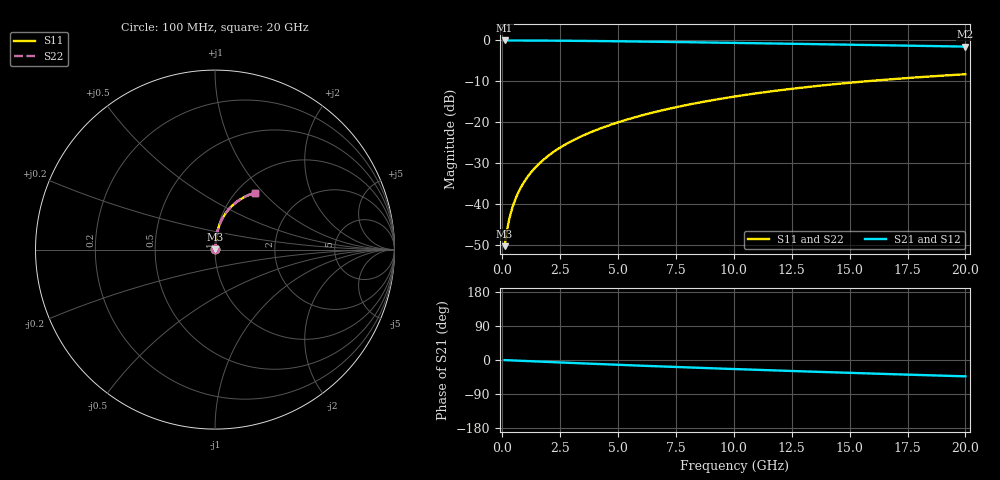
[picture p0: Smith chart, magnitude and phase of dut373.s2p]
! Touchstone file exported from HFSS 2024.1.0
!  File:  C:/UserFiles/LocalFiles/RDL_TSV_Batchsim/temp_RDL_bottom_373_1779613487.aedt
!  Generated:  05:07:39 PM May 24, 2026
!  Design:  RDL_bottom
!  Project:  temp_RDL_bottom_373_1779613487
!  Setup:  Setup1
!  Solution:  Sweep
! Variables:
!  dtsv = 10.80580581um
!  hbump = 3um
!  htsv = 99.97um
!  ldown = 606.8um
!  lrdl = 100um
!  p = 40
!  p1 = 53.84um
!  rhole = 1um
!  t = 450um
!  tdown = 4.73um
!  trdl = 3.915915916um
!  wdown = 21.76um
!  wrdl = 20um
# GHz S MA R 50.000000
! Terminal data exported
! Port[1] = RDL1_T1
! Port[2] = RDL1_T2
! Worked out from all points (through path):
!   200 points, 100 MHz to 20 GHz, reference 50 ohm
!   highest |S21| = -0.02 dB at 100 MHz (marker M1); lowest = -1.5 dB at 20 GHz (marker M2)
!   group delay of S21, straight-line fit = 5.94 ps
!   lowest |S11| = -50.2 dB at 100 MHz (marker M3), VSWR 1.01, Z = 50.2 + j0.214 ohm
!   |S11| at or under -10 dB: start of sweep to 15.67 GHz
!   |S22| runs from -50.2 to -8.3 dB; largest |S21 - S12| = 1.6e-14
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0.1  0.003096 43.4  0.9977 -0.3  0.9977 -0.3  0.003096 43.4
! Gamma 0 0 0 0
! Port Impedance 50 0 50 0
0.2  0.004795 60.1  0.9976 -0.5  0.9976 -0.5  0.004795 60.1
0.3  0.006614 67.7  0.9974 -0.8  0.9974 -0.8  0.006614 67.7
0.4  0.008463 72.0  0.9973 -1.1  0.9973 -1.1  0.008463 72.0
0.5  0.01033 74.9  0.9971 -1.3  0.9971 -1.3  0.01033 74.9
0.6  0.01222 76.9  0.997 -1.6  0.997 -1.6  0.01222 77.0
0.8  0.01604 79.6  0.9966 -2.1  0.9966 -2.1  0.01604 79.6
1.1  0.02183 81.7  0.996 -2.9  0.996 -2.9  0.02183 81.7
1.5  0.02962 83.1  0.9949 -3.9  0.9949 -3.9  0.02962 83.1
1.8  0.0355 83.7  0.9939 -4.7  0.9939 -4.7  0.0355 83.7
2.1  0.04141 84.0  0.9927 -5.5  0.9927 -5.5  0.04141 84.0
2.7  0.05332 84.1  0.99 -7.0  0.99 -7.0  0.05332 84.1
3.5  0.0694 83.8  0.9854 -9.0  0.9854 -9.0  0.0694 83.8
4.2  0.08368 83.2  0.9809 -10.7  0.9809 -10.7  0.08368 83.2
5  0.1002 82.4  0.9751 -12.7  0.9751 -12.7  0.1002 82.4
6.8  0.1382 79.9  0.9607 -16.9  0.9607 -16.9  0.1382 79.9
8.4  0.1723 77.2  0.9469 -20.4  0.9469 -20.4  0.1723 77.2
10.1  0.2081 74.0  0.9316 -24.1  0.9316 -24.1  0.2081 74.0
11.7  0.2409 70.8  0.9169 -27.4  0.9169 -27.4  0.2409 70.8
13.4  0.2743 67.4  0.901 -30.8  0.901 -30.8  0.2744 67.4
16.7  0.3341 60.9  0.8701 -37.2  0.8701 -37.2  0.3342 61.0
20  0.3864 54.8  0.8396 -43.1  0.8396 -43.1  0.3865 54.8
